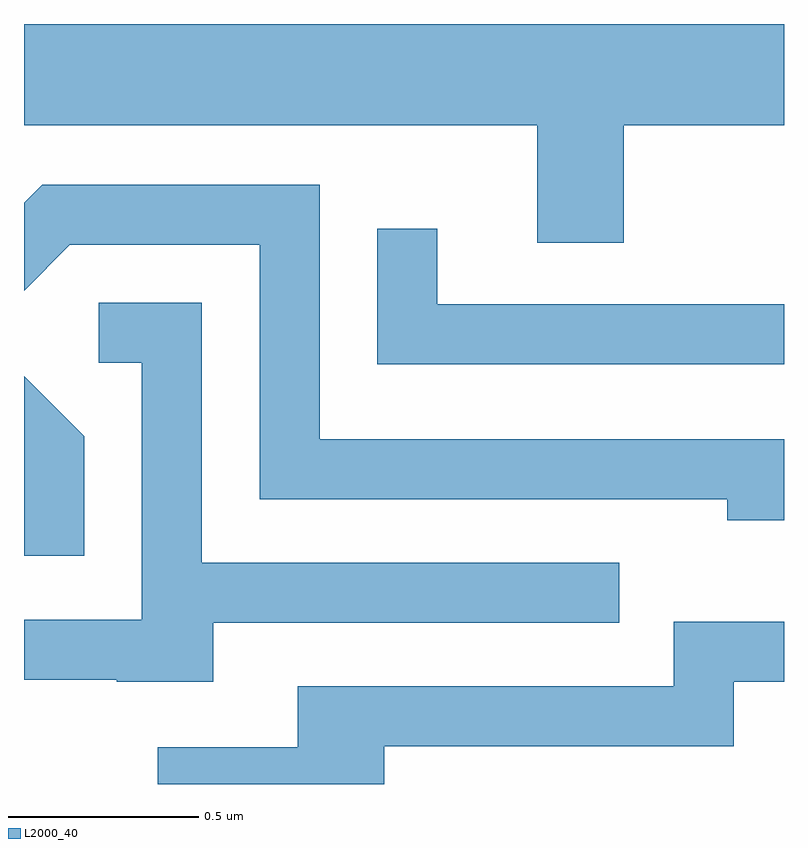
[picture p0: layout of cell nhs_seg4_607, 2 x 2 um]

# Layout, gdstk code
import gdstk
lib = gdstk.Library(unit=1e-6, precision=1e-09)
def P(c, l, *ps):  # polygons
    for p in ps: c.add(gdstk.Polygon(p, *l))
L2000_40 = (2000, 40)

nhs_seg4_607 = lib.new_cell('nhs_seg4_607')
P(nhs_seg4_607, L2000_40, [(191.189,1314.716),(191.611,1314.716),(191.611,1314.982),(189.611,1314.982),(189.611,1314.716),(190.961,1314.716),(190.961,1314.406),(191.189,1314.406)],
  [(191.611,1313.889),(190.389,1313.889),(190.389,1314.559),(189.659,1314.559),(189.611,1314.511),(189.611,1314.28),(189.732,1314.401),(190.231,1314.401),(190.231,1313.731),(191.461,1313.731),(191.461,1313.676),(191.611,1313.676)],
  [(191.611,1314.244),(190.699,1314.244),(190.699,1314.443),(190.541,1314.443),(190.541,1314.086),(191.611,1314.086)],
  [(190.109,1313.406),(191.178,1313.406),(191.178,1313.564),(190.079,1313.564),(190.079,1314.249),(189.808,1314.249),(189.808,1314.091),(189.921,1314.091),(189.921,1313.414),(189.611,1313.414),(189.611,1313.256),(189.855,1313.256),(189.855,1313.251),(190.109,1313.251)],
  [(189.769,1313.897),(189.611,1314.055),(189.611,1313.583),(189.769,1313.583)],
  [(190.559,1313.081),(191.479,1313.081),(191.479,1313.251),(191.611,1313.251),(191.611,1313.409),(191.321,1313.409),(191.321,1313.239),(190.331,1313.239),(190.331,1313.079),(189.963,1313.079),(189.963,1312.982),(190.559,1312.982)])

lib.write_gds('nhs_seg4_607.gds')
